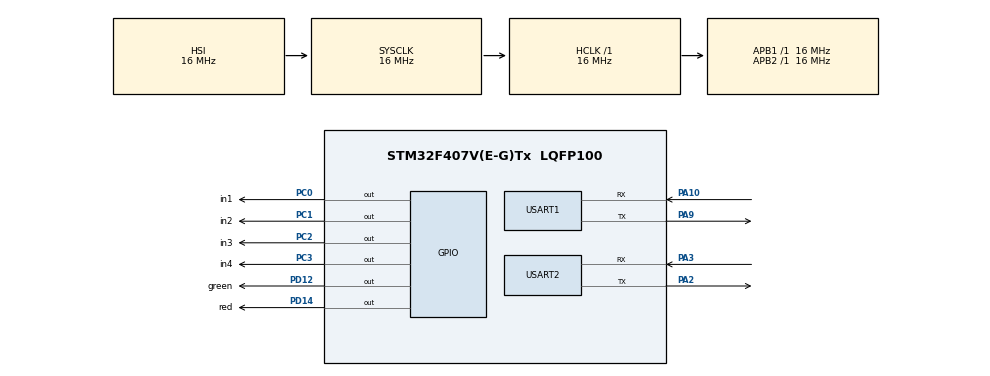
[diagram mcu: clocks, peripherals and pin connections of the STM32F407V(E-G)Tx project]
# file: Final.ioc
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Mcu.Family=STM32F4
Mcu.Name=STM32F407V(E-G)Tx
Mcu.Package=LQFP100
NVIC.PriorityGroup=NVIC_PRIORITYGROUP_4
NVIC.TIM7_IRQn=true\:15\:0\:false\:false\:true\:false\:true\:true
NVIC.TimeBase=TIM7_IRQn
NVIC.TimeBaseIP=TIM7
NVIC.USART2_IRQn=true\:11\:0\:true\:false\:true\:true\:true\:true
PA10.Mode=Asynchronous
PA10.Signal=USART1_RX
PA13.Mode=Serial_Wire
PA13.Signal=SYS_JTMS-SWDIO
PA14.Mode=Serial_Wire
PA14.Signal=SYS_JTCK-SWCLK
PA2.Mode=Asynchronous
PA2.Signal=USART2_TX
PA3.Mode=Asynchronous
PA3.Signal=USART2_RX
PA9.Mode=Asynchronous
PA9.Signal=USART1_TX
PC0.GPIO_Label=in1
PC0.Signal=GPIO_Output
PC1.GPIO_Label=in2
PC1.Signal=GPIO_Output
PC2.GPIO_Label=in3
PC2.Signal=GPIO_Output
PC3.GPIO_Label=in4
PC3.Signal=GPIO_Output
PD12.GPIO_Label=green
PD12.Signal=GPIO_Output
PD14.GPIO_Label=red
PD14.Signal=GPIO_Output
ProjectManager.HeapSize=0x200
ProjectManager.StackSize=0x400
ProjectManager.TargetToolchain=STM32CubeIDE
RCC.AHBFreq_Value=16000000
RCC.APB1Freq_Value=16000000
RCC.APB2Freq_Value=16000000
RCC.CortexFreq_Value=16000000
RCC.HSE_VALUE=25000000
RCC.HSI_VALUE=16000000
RCC.LSE_VALUE=32768
RCC.SYSCLKFreq_VALUE=16000000
RCC.VCOOutputFreq_Value=192000000
USART1.VirtualMode=VM_ASYNC
USART2.VirtualMode=VM_ASYNC
VP_SYS_VS_tim7.Mode=TIM7
board=custom

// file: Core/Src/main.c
/* USER CODE BEGIN Header */
/**
  ******************************************************************************
  * @file           : main.c
  * @brief          : Main program body
  ******************************************************************************
  * @attention
  *
  * Copyright (c) 2023 STMicroelectronics.
  * All rights reserved.
  *
  * This software is licensed under terms that can be found in the LICENSE file
  * in the root directory of this software component.
  * If no LICENSE file comes with this software, it is provided AS-IS.
  *
  ******************************************************************************
  */
/* USER CODE END Header */
#include "main.h"

/* USER CODE BEGIN Includes */
#include "FreeRTOS.h"
#include "task.h"
#include "queue.h"

/* USER CODE END Includes */

UART_HandleTypeDef huart1;
UART_HandleTypeDef huart2;

/* USER CODE BEGIN PV */
uint8_t recv_char[1];
uint8_t recv_str[200] = {0};
char s[20];
int recv_str_count=0;

/* USER CODE END PV */

void SystemClock_Config(void);
static void MX_GPIO_Init(void);
static void MX_USART2_UART_Init(void);
static void MX_USART1_UART_Init(void);
/* USER CODE BEGIN PFP */

void forward(){
	HAL_GPIO_WritePin(in1_GPIO_Port, in1_Pin, GPIO_PIN_SET);
	HAL_GPIO_WritePin(in2_GPIO_Port, in2_Pin, GPIO_PIN_RESET);
	HAL_GPIO_WritePin(in4_GPIO_Port, in4_Pin, GPIO_PIN_SET);
	HAL_GPIO_WritePin(in3_GPIO_Port, in3_Pin, GPIO_PIN_RESET);
}
void backward(){
	HAL_GPIO_WritePin(in1_GPIO_Port, in1_Pin, GPIO_PIN_RESET);
	HAL_GPIO_WritePin(in2_GPIO_Port, in2_Pin, GPIO_PIN_SET);
	HAL_GPIO_WritePin(in4_GPIO_Port, in4_Pin, GPIO_PIN_RESET);
	HAL_GPIO_WritePin(in3_GPIO_Port, in3_Pin, GPIO_PIN_SET);
}

void left(){
	HAL_GPIO_WritePin(in1_GPIO_Port, in1_Pin, GPIO_PIN_RESET);
	HAL_GPIO_WritePin(in2_GPIO_Port, in2_Pin, GPIO_PIN_RESET);
	HAL_GPIO_WritePin(in4_GPIO_Port, in4_Pin, GPIO_PIN_SET);
	HAL_GPIO_WritePin(in3_GPIO_Port, in3_Pin, GPIO_PIN_RESET);
}

void right(){
	HAL_GPIO_WritePin(in1_GPIO_Port, in1_Pin, GPIO_PIN_SET);
	HAL_GPIO_WritePin(in2_GPIO_Port, in2_Pin, GPIO_PIN_RESET);
	HAL_GPIO_WritePin(in4_GPIO_Port, in4_Pin, GPIO_PIN_RESET);
	HAL_GPIO_WritePin(in3_GPIO_Port, in3_Pin, GPIO_PIN_RESET);
}

void stop(){
	HAL_GPIO_WritePin(in1_GPIO_Port, in1_Pin, GPIO_PIN_RESET);
	HAL_GPIO_WritePin(in2_GPIO_Port, in2_Pin, GPIO_PIN_RESET);
	HAL_GPIO_WritePin(in4_GPIO_Port, in4_Pin, GPIO_PIN_RESET);
	HAL_GPIO_WritePin(in3_GPIO_Port, in3_Pin, GPIO_PIN_RESET);
}

void motor(){

	while(1){
		vTaskSuspendAll();
		if(s[0]!='\0'){
			if(!strcmp(s,"f")){
				forward();
			} else if(!strcmp(s,"b")){
				backward();
			} else if(!strcmp(s,"r")){
				right();
			} else if(!strcmp(s,"l")){
				left();
			} else {
				stop();
			}
			 memset(s, '\0', 20);
		}
		xTaskResumeAll();
		vTaskDelay(500);
	}
}

//void bt(){
//
//}

void HAL_UART_RxCpltCallback(UART_HandleTypeDef *huart){
    if(huart->Instance == USART2 ){
    	char k[22];
	    s[0] = recv_char[0];
//	    if(recv_char[0] == '\n'){
////		    sprintf(k, "%s", recv_str);
////		    qmsg msg;
////		    strcpy(msg.data, recv_str);
////		    xQueueSend(q, &msg, 0);
////		    memset(recv_str, 0, 200);
//		    recv_str_count = 0;
//	    }
	 HAL_UART_Receive_IT(&huart2, &recv_char, 1); //UART1 Interrupt call
	}
}
/* USER CODE END PFP */

int main(void)
{

  /* MCU Configuration--------------------------------------------------------*/

  /* Reset of all peripherals, Initializes the Flash interface and the Systick. */
  HAL_Init();

  /* Configure the system clock */
  SystemClock_Config();

  /* Initialize all configured peripherals */
  MX_GPIO_Init();
  MX_USART2_UART_Init();
  MX_USART1_UART_Init();
  q = xQueueCreate(10, sizeof(qmsg));
  xTaskCreate(motor,"motor",256,NULL,12,NULL);
  HAL_UART_Receive_IT(&huart2, &recv_char, 1);
  vTaskStartScheduler();

  /* Infinite loop */
  while (1)
  {

  }
}

void SystemClock_Config(void)
{
  RCC_OscInitTypeDef RCC_OscInitStruct = {0};
  RCC_ClkInitTypeDef RCC_ClkInitStruct = {0};

  /** Configure the main internal regulator output voltage
  */
  __HAL_RCC_PWR_CLK_ENABLE();
  __HAL_PWR_VOLTAGESCALING_CONFIG(PWR_REGULATOR_VOLTAGE_SCALE1);

  /** Initializes the RCC Oscillators according to the specified parameters
  * in the RCC_OscInitTypeDef structure.
  */
  RCC_OscInitStruct.OscillatorType = RCC_OSCILLATORTYPE_HSI;
  RCC_OscInitStruct.HSIState = RCC_HSI_ON;
  RCC_OscInitStruct.HSICalibrationValue = RCC_HSICALIBRATION_DEFAULT;
  RCC_OscInitStruct.PLL.PLLState = RCC_PLL_NONE;
  if (HAL_RCC_OscConfig(&RCC_OscInitStruct) != HAL_OK)
  {
    Error_Handler();
  }

  /** Initializes the CPU, AHB and APB buses clocks
  */
  RCC_ClkInitStruct.ClockType = RCC_CLOCKTYPE_HCLK|RCC_CLOCKTYPE_SYSCLK
                              |RCC_CLOCKTYPE_PCLK1|RCC_CLOCKTYPE_PCLK2;
  RCC_ClkInitStruct.SYSCLKSource = RCC_SYSCLKSOURCE_HSI;
  RCC_ClkInitStruct.AHBCLKDivider = RCC_SYSCLK_DIV1;
  RCC_ClkInitStruct.APB1CLKDivider = RCC_HCLK_DIV1;
  RCC_ClkInitStruct.APB2CLKDivider = RCC_HCLK_DIV1;

  if (HAL_RCC_ClockConfig(&RCC_ClkInitStruct, FLASH_LATENCY_0) != HAL_OK)
  {
    Error_Handler();
  }
}

static void MX_USART1_UART_Init(void)
{

  huart1.Instance = USART1;
  huart1.Init.BaudRate = 115200;
  huart1.Init.WordLength = UART_WORDLENGTH_8B;
  huart1.Init.StopBits = UART_STOPBITS_1;
  huart1.Init.Parity = UART_PARITY_NONE;
  huart1.Init.Mode = UART_MODE_TX_RX;
  huart1.Init.HwFlowCtl = UART_HWCONTROL_NONE;
  huart1.Init.OverSampling = UART_OVERSAMPLING_16;
  if (HAL_UART_Init(&huart1) != HAL_OK)
  {
    Error_Handler();
  }

}

static void MX_USART2_UART_Init(void)
{

  huart2.Instance = USART2;
  huart2.Init.BaudRate = 9600;
  huart2.Init.WordLength = UART_WORDLENGTH_8B;
  huart2.Init.StopBits = UART_STOPBITS_1;
  huart2.Init.Parity = UART_PARITY_NONE;
  huart2.Init.Mode = UART_MODE_TX_RX;
  huart2.Init.HwFlowCtl = UART_HWCONTROL_NONE;
  huart2.Init.OverSampling = UART_OVERSAMPLING_16;
  if (HAL_UART_Init(&huart2) != HAL_OK)
  {
    Error_Handler();
  }

}

static void MX_GPIO_Init(void)
{
  GPIO_InitTypeDef GPIO_InitStruct = {0};

  /* GPIO Ports Clock Enable */
  __HAL_RCC_GPIOC_CLK_ENABLE();
  __HAL_RCC_GPIOA_CLK_ENABLE();
  __HAL_RCC_GPIOD_CLK_ENABLE();

  /*Configure GPIO pin Output Level */
  HAL_GPIO_WritePin(GPIOC, in1_Pin|in2_Pin|in3_Pin|in4_Pin, GPIO_PIN_RESET);

  /*Configure GPIO pin Output Level */
  HAL_GPIO_WritePin(GPIOD, green_Pin|red_Pin, GPIO_PIN_RESET);

  /*Configure GPIO pins : in1_Pin in2_Pin in3_Pin in4_Pin */
  GPIO_InitStruct.Pin = in1_Pin|in2_Pin|in3_Pin|in4_Pin;
  GPIO_InitStruct.Mode = GPIO_MODE_OUTPUT_PP;
  GPIO_InitStruct.Pull = GPIO_NOPULL;
  GPIO_InitStruct.Speed = GPIO_SPEED_FREQ_LOW;
  HAL_GPIO_Init(GPIOC, &GPIO_InitStruct);

  /*Configure GPIO pins : green_Pin red_Pin */
  GPIO_InitStruct.Pin = green_Pin|red_Pin;
  GPIO_InitStruct.Mode = GPIO_MODE_OUTPUT_PP;
  GPIO_InitStruct.Pull = GPIO_NOPULL;
  GPIO_InitStruct.Speed = GPIO_SPEED_FREQ_LOW;
  HAL_GPIO_Init(GPIOD, &GPIO_InitStruct);

}

void HAL_TIM_PeriodElapsedCallback(TIM_HandleTypeDef *htim)
{
  if (htim->Instance == TIM7) {
    HAL_IncTick();
  }
}

void Error_Handler(void)
{
  /* USER CODE BEGIN Error_Handler_Debug */
  /* User can auart2
  while (1)
  {
  }
  /* USER CODE END Error_Handler_Debug */
}
